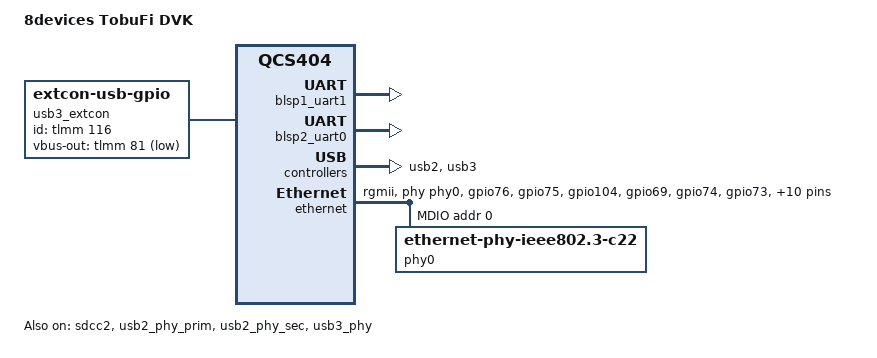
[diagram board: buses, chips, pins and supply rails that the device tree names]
// SPDX-License-Identifier: GPL-2.0
/*
 * Copyright (c) 2025 8devices, UAB
 */

/dts-v1/;

#include <dt-bindings/gpio/gpio.h>
#include "qcs405-8devices-tobufi.dtsi"

/ {
	model = "8devices TobuFi DVK";
	compatible = "8devices,tobufi-dvk", "8devices,tobufi",
		     "qcom,qcs405", "qcom,qcs404";

	aliases {
		serial0 = &blsp1_uart2;
		serial1 = &blsp1_uart1;
		serial2 = &blsp2_uart0;
	};

	usb3_extcon: usb3-extcon {
		compatible = "linux,extcon-usb-gpio";
		id-gpio = <&tlmm 116 GPIO_ACTIVE_HIGH>;
		vbus-out-gpio = <&tlmm 81 GPIO_ACTIVE_LOW>;
	};
};

&tlmm {
	ethernet_default: ethernet-default-state {
		mdc-pins {
			pins = "gpio76";
			function = "rgmii_mdc";
			bias-pull-up;
		};

		mdio-pins {
			pins = "gpio75";
			function = "rgmii_mdio";
			bias-pull-up;
		};

		phy-rst-pins {
			pins = "gpio104";
			function = "gpio";
			bias-disable;
			drive-strength = <2>;
			output-low;
		};

		rx-ck-pins {
			pins = "gpio69";
			function = "rgmii_ck";
			bias-disable;
			drive-strength = <2>;
		};

		rx-ctl-pins {
			pins = "gpio74";
			function = "rgmii_ctl";
			bias-disable;
			drive-strength = <2>;
		};

		rx-pins {
			pins = "gpio73", "gpio72", "gpio71", "gpio70";
			function = "rgmii_rx";
			bias-disable;
			drive-strength = <2>;
		};

		tx-ck-pins {
			pins = "gpio63";
			function = "rgmii_ck";
			bias-pull-up;
			drive-strength = <16>;
		};

		tx-ctl-pins {
			pins = "gpio68";
			function = "rgmii_ctl";
			bias-pull-up;
			drive-strength = <16>;
		};

		tx-pins {
			pins = "gpio67", "gpio66", "gpio65", "gpio64";
			function = "rgmii_tx";
			bias-pull-up;
			drive-strength = <16>;
		};
	};

	usb3_id_pin: usb3-id-state {
		pins = "gpio116";
		function = "gpio";
		bias-pull-up;
		drive-strength = <2>;
	};

	usb3_vbus_boost: usb3-vbus-boost {
		pins = "gpio81";
		function = "gpio";
		bias-pull-up;
		drive-strength = <8>;
	};

	usb2_vbus_boost: usb2-vbus-boost {
		pins = "gpio80";
		function = "gpio";
		bias-pull-down;
		drive-strength = <8>;
	};
};

/* BLSP1, 4-pin header */
&blsp1_uart1 {
	status = "okay";
};

&blsp2_dma {
	qcom,controlled-remotely;
	status = "okay";
};

/* BLSP5, 4-pin header */
&blsp2_uart0 {
	status = "okay";
};

&sdcc2 {
	cd-gpios = <&tlmm 36 GPIO_ACTIVE_LOW>;
	status = "okay";
};

&sdc2_default {
	cd-pins {
		pins = "gpio36";
		function = "gpio";
		bias-disable;
		drive-strength = <2>;
	};
};

&sdc2_sleep {
	cd-pins {
		pins = "gpio36";
		function = "gpio";
		bias-disable;
		drive-strength = <2>;
	};
};

&usb2 {
	status = "okay";
	usb@78c0000 {
		dr_mode = "peripheral";
	};
};

&usb3 {
	status = "okay";
	usb@7580000 {
		dr_mode = "otg";
		extcon = <&usb3_extcon>;
	};
};

&usb2_phy_prim {
	vdd-supply = <&vreg_l4_1p2>;
	vdda1p8-supply = <&vreg_l5_1p8>;
	vdda3p3-supply = <&vreg_l12_3p3>;
	status = "okay";
};

&usb2_phy_sec {
	vdd-supply = <&vreg_l4_1p2>;
	vdda1p8-supply = <&vreg_l5_1p8>;
	vdda3p3-supply = <&vreg_l12_3p3>;
	status = "okay";
};

&usb3_phy {
	vdd-supply = <&vreg_l3_1p05>;
	vdda1p8-supply = <&vreg_l5_1p8>;
	status = "okay";
};

&ethernet {
	snps,reset-gpio = <&tlmm 104 GPIO_ACTIVE_LOW>;
	snps,reset-active-low;
	snps,reset-delays-us = <0 10000 10000>;
	pinctrl-names = "default";
	pinctrl-0 = <&ethernet_default>;
	phy-handle = <&phy0>;
	phy-mode = "rgmii";
	status = "okay";

	mdio {
		compatible = "snps,dwmac-mdio";
		#address-cells = <1>;
		#size-cells = <0>;

		phy0: phy@0 {
			compatible = "ethernet-phy-ieee802.3-c22";
			reg = <0x0>;
			device_type = "ethernet-phy";
		};
	};
};
